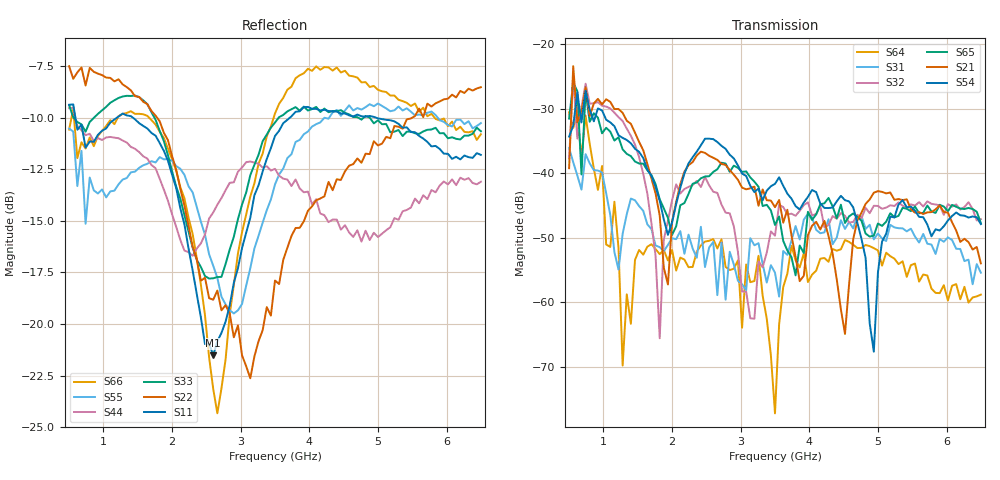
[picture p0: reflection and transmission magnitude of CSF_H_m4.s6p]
!Keysight Technologies,M9804A,MY58100912,A.14.10.03
!Date: Thursday, April 27, 2023 10:28:33
!Correction: S11(C  6-Port  )
!S12(C  6-Port  )
!S13(C  6-Port  )
!S14(C  6-Port  )
!S15(C  6-Port  )
!S16(C  6-Port  )
!S21(C  6-Port  )
!S22(C  6-Port  )
!S23(C  6-Port  )
!S24(C  6-Port  )
!S25(C  6-Port  )
!S26(C  6-Port  )
!S31(C  6-Port  )
!S32(C  6-Port  )
!S33(C  6-Port  )
!S34(C  6-Port  )
!S35(C  6-Port  )
!S36(C  6-Port  )
!S41(C  6-Port  )
!S42(C  6-Port  )
!S43(C  6-Port  )
!S44(C  6-Port  )
!S45(C  6-Port  )
!S46(C  6-Port  )
!S51(C  6-Port  )
!S52(C  6-Port  )
!S53(C  6-Port  )
!S54(C  6-Port  )
!S55(C  6-Port  )
!S56(C  6-Port  )
!S61(C  6-Port  )
!S62(C  6-Port  )
!S63(C  6-Port  )
!S64(C  6-Port  )
!S65(C  6-Port  )
!S66(C  6-Port  )
!S6P File: Measurement: :
# Hz S  RI  R 50
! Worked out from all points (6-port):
!   101 points, 500 MHz to 6.5 GHz, reference 50 ohm
!   strongest paths, dB at 500 MHz, 2 GHz, 3.5 GHz, 5 GHz, 6.5 GHz:
!     S54: -34.3, -47.6, -41.6, -55.3, -47.9
!     S21: -39.2, -47.5, -45.2, -42.8, -53.9
!     S65: -31.5, -49.5, -48.0, -47.8, -47.7
!     S32: -37.7, -44.2, -49.7, -45.0, -47.1
!     S31: -36.1, -50.0, -55.4, -49.3, -55.4
!     S64: -30.5, -51.9, -77.2, -51.9, -58.8
!   lowest |S11| = -21.5 dB at 2.6 GHz (marker M1), VSWR 1.18, Z = 42.5 + j2.14 ohm
!   |S11| at or under -10 dB: 591.8 MHz to 1.193 GHz (601.3 MHz wide, 67.4 % of centre); 1.432 GHz to 3.714 GHz (2.282 GHz wide, 88.7 % of centre); 4.977 GHz to end of sweep
